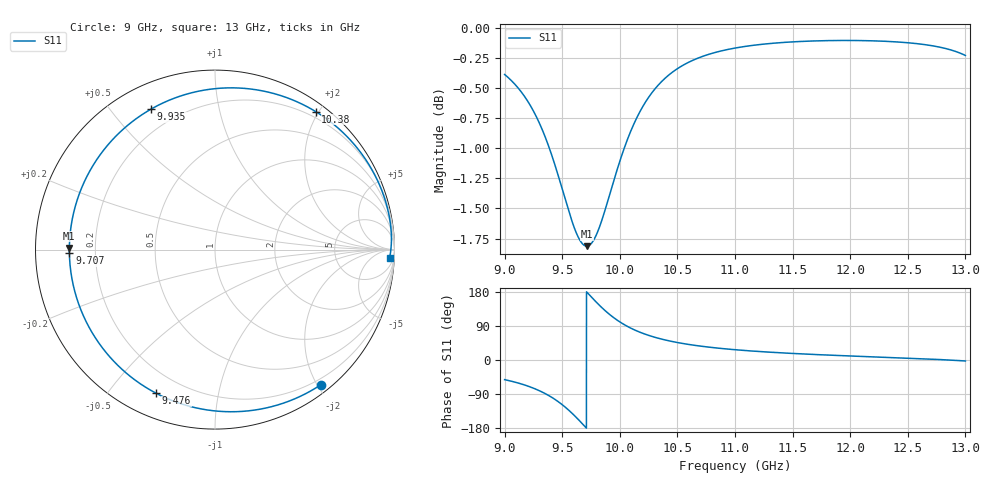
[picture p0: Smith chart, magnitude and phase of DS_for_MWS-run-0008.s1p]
! TOUCHSTONE file generated by CST DESIGN STUDIO
! Date and time: Tue Feb  4 18:12:27 2025
! Project name: C:\Work\MatlabApps\UnitCellOptimizationMatlab\CST\unitcell.cst
! Tree item: Tasks\Sweep1\SPara1\S-Parameters
! Header version: 2024
! Port assignment regex: !\s*Touchstone port\s*([0-9]+)\s*=\s*(CST MWS port|CST DES external port|CST DES block port)\s*(.+)\s* \(\"(.*)\"\)(\s*mode\s*([0-9]+))?.*
! Touchstone port assignment:
! Touchstone port 1 = CST DES external port 1 ("")
# GHz S MA R 50
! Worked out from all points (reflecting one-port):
!   4001 points, 9 GHz to 13 GHz, reference 50 ohm
!   lowest |S11| = -1.8 dB at 9.713 GHz (marker M1), VSWR 9.61, Z = 5.2 + j0.289 ohm
!   phase of S11 starts at -52 deg and turns -311 deg over the sweep
!   S11 on the Smith chart (normalised r, x): 9 GHz: 0.12, -2.05; 9.476 GHz: 0.10, -0.67; 9.707 GHz: 0.10, -0.01; 9.935 GHz: 0.11, +0.64; 10.38 GHz: 0.12, +1.96; 13 GHz: 19, -33
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9  0.9566 -51.8
9.127  0.9431 -61.5
9.248  0.9241 -74.1
9.376  0.8948 -92.6
9.428  0.8799 -102.2
9.476  0.8649 -112.3
9.5  0.8572 -117.9
9.559  0.8386 -133.1
9.618  0.8229 -150.2
9.664  0.8147 -164.7
9.707  0.8116 -178.7
9.713  0.8115 179.3
9.77  0.8158 160.8
9.833  0.829 141.4
9.884  0.8438 127.2
9.935  0.86 114.5
10  0.8803 100.5
10.08  0.9023 86.4
10.18  0.9241 72.7
10.275  0.9395 62.6
10.38  0.9519 53.9
10.5  0.9619 46.1
10.719  0.9733 35.9
11  0.9811 27.1
11.5  0.9869 17.3
12  0.9882 10.6
12.5  0.9861 4.8
13  0.9742 -2.6
